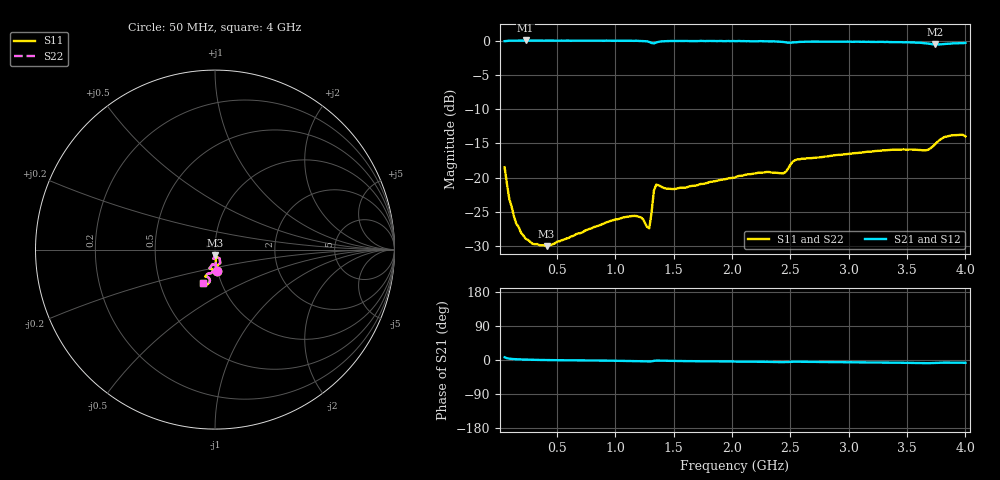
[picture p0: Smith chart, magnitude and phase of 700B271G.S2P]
!  American Technical Ceramics  Date:  3/13/98
!  One Norden Lane
!  Huntington Station,  NY.  11746-2102
!  Tel:  (516) 547-5700  Fax:  (516) 547-5748
!  Part Number  700B271G
!  Description: Porcelain, High Q, Low ESR
!  Application: Bypass, Coupling, Timing, Feedback
!  Tuning, Impedance Match, Blocking
# GHZ S DB R 50
! Freq  |S11|  S11 Ph  |S21|  S21 Ph  |S12|  S12 Ph  |S22|  S22 Ph
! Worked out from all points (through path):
!   201 points, 50 MHz to 4 GHz, reference 50 ohm
!   highest |S21| = 0.02 dB at 230 MHz (marker M1); lowest = -0.6 dB at 3.74 GHz (marker M2)
!   group delay of S21, straight-line fit = 6.5 ps
!   lowest |S11| = -30.0 dB at 410 MHz (marker M3), VSWR 1.07, Z = 49.8 - j3.15 ohm
!   |S11| at or under -10 dB: start of sweep to end of sweep
!   |S22| runs from -30.0 to -13.8 dB; largest |S21 - S12| = 0
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0.05  -18.49 -85.4  -0.08 7.2  -0.08 7.2  -18.49 -85.4
0.09  -23.11 -86.5  -0.02 3.6  -0.02 3.6  -23.11 -86.5
0.13  -25.66 -87.4  -0.01 2.4  -0.01 2.4  -25.66 -87.4
0.23  -28.93 -89.3  0.02 1.1  0.02 1.1  -28.93 -89.3
0.41  -30.02 -91.1  0.00 -0.2  0.00 -0.2  -30.02 -91.1
0.72  -27.98 -94.8  -0.01 -1.2  -0.01 -1.2  -27.98 -94.8
1.14  -25.62 -98.8  -0.03 -2.5  -0.03 -2.5  -25.62 -98.8
1.22  -25.83 -98.6  -0.06 -2.9  -0.06 -2.9  -25.83 -98.6
1.29  -27.41 -77.6  -0.20 -3.9  -0.20 -3.9  -27.41 -77.6
1.33  -21.89 -68.6  -0.41 -2.2  -0.41 -2.2  -21.89 -68.6
1.35  -21.04 -81.4  -0.27 -1.5  -0.27 -1.5  -21.04 -81.4
1.37  -21.12 -88.7  -0.18 -1.6  -0.18 -1.6  -21.12 -88.7
1.51  -21.67 -99.2  -0.05 -2.6  -0.05 -2.6  -21.67 -99.2
2.03  -19.96 -104.2  -0.08 -4.0  -0.08 -4.0  -19.96 -104.2
2.44  -19.38 -101.4  -0.20 -5.8  -0.20 -5.8  -19.38 -101.4
2.54  -17.46 -100.1  -0.25 -4.4  -0.25 -4.4  -17.46 -100.1
2.7  -17.12 -106.0  -0.15 -4.9  -0.15 -4.9  -17.12 -106.0
3.35  -15.99 -109.6  -0.22 -7.0  -0.22 -7.0  -15.99 -109.6
3.66  -16.03 -104.9  -0.40 -8.4  -0.40 -8.4  -16.03 -104.9
3.74  -15.14 -99.2  -0.56 -7.8  -0.56 -7.8  -15.14 -99.2
3.82  -14.08 -102.3  -0.50 -6.8  -0.50 -6.8  -14.08 -102.3
4  -13.99 -109.6  -0.33 -7.5  -0.33 -7.5  -13.99 -109.6
